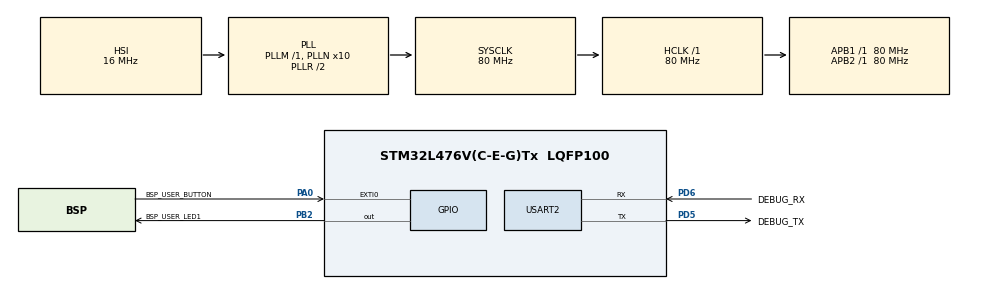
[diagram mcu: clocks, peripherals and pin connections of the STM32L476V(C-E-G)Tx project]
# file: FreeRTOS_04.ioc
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FREERTOS.BinarySemaphores01=MySem,Dynamic,NULL
FREERTOS.Tasks01=Opt,40,256,EventThread,Default,NULL,Dynamic,NULL,NULL
FREERTOS.configTOTAL_HEAP_SIZE=5000
Mcu.Family=STM32L4
Mcu.Name=STM32L476V(C-E-G)Tx
Mcu.Package=LQFP100
NVIC.EXTI0_IRQn=true\:5\:0\:false\:false\:true\:true\:true\:true
NVIC.PriorityGroup=NVIC_PRIORITYGROUP_4
NVIC.TIM6_DAC_IRQn=true\:0\:0\:false\:false\:true\:false\:false\:true
NVIC.TimeBase=TIM6_DAC_IRQn
NVIC.TimeBaseIP=TIM6
PA0.GPIO_Label=BSP_USER_BUTTON
PA0.GPIO_ModeDefaultEXTI=GPIO_MODE_IT_FALLING
PA0.GPIO_PuPd=GPIO_PULLDOWN
PA0.Signal=GPXTI0
PA13\ (JTMS-SWDIO).Mode=Serial_Wire
PA13\ (JTMS-SWDIO).Signal=SYS_JTMS-SWDIO
PA14\ (JTCK-SWCLK).Mode=Serial_Wire
PA14\ (JTCK-SWCLK).Signal=SYS_JTCK-SWCLK
PB2.GPIO_Label=BSP_USER_LED1
PB2.GPIO_Speed=GPIO_SPEED_FREQ_HIGH
PB2.Signal=GPIO_Output
PD5.GPIO_Label=DEBUG_TX
PD5.Mode=Asynchronous
PD5.Signal=USART2_TX
PD6.GPIO_Label=DEBUG_RX
PD6.Mode=Asynchronous
PD6.Signal=USART2_RX
ProjectManager.HeapSize=0x200
ProjectManager.StackSize=0x400
ProjectManager.TargetToolchain=STM32CubeIDE
RCC.ADCFreq_Value=64000000
RCC.AHBFreq_Value=80000000
RCC.APB1Freq_Value=80000000
RCC.APB1TimFreq_Value=80000000
RCC.APB2Freq_Value=80000000
RCC.APB2TimFreq_Value=80000000
RCC.CortexFreq_Value=80000000
RCC.HCLKFreq_Value=80000000
RCC.HSE_VALUE=8000000
RCC.HSI_VALUE=16000000
RCC.LSE_VALUE=32768
RCC.MSI_VALUE=4000000
RCC.PLLN=10
RCC.PLLSourceVirtual=RCC_PLLSOURCE_HSI
RCC.SYSCLKFreq_VALUE=80000000
RCC.SYSCLKSource=RCC_SYSCLKSOURCE_PLLCLK
RCC.USBFreq_Value=64000000
RCC.VCOOutputFreq_Value=160000000
USART2.VirtualMode-Asynchronous=VM_ASYNC
VP_FREERTOS_VS_CMSIS_V2.Mode=CMSIS_V2
VP_SYS_VS_tim6.Mode=TIM6
board=custom

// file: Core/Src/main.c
/* USER CODE BEGIN Header */
/**
 ******************************************************************************
 * @file           : main.c
 * @brief          : Main program body
 ******************************************************************************
 * @attention
 *
 * <h2><center>&copy; Copyright (c) 2021 STMicroelectronics.
 * All rights reserved.</center></h2>
 *
 * This software component is licensed by ST under BSD 3-Clause license,
 * the "License"; You may not use this file except in compliance with the
 * License. You may obtain a copy of the License at:
 *                        opensource.org/licenses/BSD-3-Clause
 *
 ******************************************************************************
 */
/* USER CODE END Header */
/* ******************************************************************************
 DO WHAT THE FUCK YOU WANT TO PUBLIC LICENSE
 Version 2, December 2021

 Copyright (C) 2021 Mahendra Sondagar <mahendrasondagar08@gmail.com>
 Everyone is permitted to copy and distribute verbatim or modified
 copies of this license document, and changing it is allowed as long
 as the name is changed.

 DO WHAT THE FUCK YOU WANT TO PUBLIC LICENSE
 TERMS AND CONDITIONS FOR COPYING, DISTRIBUTION AND MODIFICATION
 0. You just DO WHAT THE FUCK YOU WANT TO.

 Coded: Sun, 12th Sep, 2021 / 18:35 PM
 ****************************************************/
#include "main.h"
#include "cmsis_os.h"

/* USER CODE BEGIN PM */
#define WELCOME_MSG     "-------------------------------------------------- \r\n"\
                        "                 Hello World!                      \r\n"\
	                    "    This is the FreeRTOS Binary Semaphore from ISR \r\n"\
						"          Coded By: Mahendra Sondagar              \r\n"\
						"        <mahendrasondagar08@gmail.com>             \r\n"\
						"-------------------------------------------------- \r\n"

/* USER CODE END PM */

UART_HandleTypeDef huart2;

/* Definitions for Opt */
osThreadId_t OptHandle;
const osThreadAttr_t Opt_attributes = { .name = "Opt", .priority =
		(osPriority_t) osPriorityHigh, .stack_size = 256 * 4 };
/* Definitions for MySem */
osSemaphoreId_t MySemHandle;
const osSemaphoreAttr_t MySem_attributes = { .name = "MySem" };

void SystemClock_Config(void);
static void MX_GPIO_Init(void);
static void MX_USART2_UART_Init(void);
void EventThread(void *argument);

int main(void) {

	/* MCU Configuration--------------------------------------------------------*/

	/* Reset of all peripherals, Initializes the Flash interface and the Systick. */
	HAL_Init();

	/* Configure the system clock */
	SystemClock_Config();

	/* Initialize all configured peripherals */
	MX_GPIO_Init();
	MX_USART2_UART_Init();
	/* USER CODE BEGIN 2 */
	HAL_Delay(250);
	KERNEL_DBG(WELCOME_MSG);

	/* USER CODE END 2 */

	/* Init scheduler */
	osKernelInitialize();

	/* Create the semaphores(s) */
	/* creation of MySem */
	MySemHandle = osSemaphoreNew(1, 1, &MySem_attributes);

	/* Create the thread(s) */
	/* creation of Opt */
	OptHandle = osThreadNew(EventThread, NULL, &Opt_attributes);

	/* Start scheduler */
	osKernelStart();

	/* We should never get here as control is now taken by the scheduler */
	/* Infinite loop */
	while (1) {

	}
}

void SystemClock_Config(void) {
	RCC_OscInitTypeDef RCC_OscInitStruct = { 0 };
	RCC_ClkInitTypeDef RCC_ClkInitStruct = { 0 };
	RCC_PeriphCLKInitTypeDef PeriphClkInit = { 0 };

	/** Initializes the RCC Oscillators according to the specified parameters
	 * in the RCC_OscInitTypeDef structure.
	 */
	RCC_OscInitStruct.OscillatorType = RCC_OSCILLATORTYPE_HSI;
	RCC_OscInitStruct.HSIState = RCC_HSI_ON;
	RCC_OscInitStruct.HSICalibrationValue = RCC_HSICALIBRATION_DEFAULT;
	RCC_OscInitStruct.PLL.PLLState = RCC_PLL_ON;
	RCC_OscInitStruct.PLL.PLLSource = RCC_PLLSOURCE_HSI;
	RCC_OscInitStruct.PLL.PLLM = 1;
	RCC_OscInitStruct.PLL.PLLN = 10;
	RCC_OscInitStruct.PLL.PLLP = RCC_PLLP_DIV7;
	RCC_OscInitStruct.PLL.PLLQ = RCC_PLLQ_DIV2;
	RCC_OscInitStruct.PLL.PLLR = RCC_PLLR_DIV2;
	if (HAL_RCC_OscConfig(&RCC_OscInitStruct) != HAL_OK) {
		Error_Handler();
	}
	/** Initializes the CPU, AHB and APB buses clocks
	 */
	RCC_ClkInitStruct.ClockType = RCC_CLOCKTYPE_HCLK | RCC_CLOCKTYPE_SYSCLK
			| RCC_CLOCKTYPE_PCLK1 | RCC_CLOCKTYPE_PCLK2;
	RCC_ClkInitStruct.SYSCLKSource = RCC_SYSCLKSOURCE_PLLCLK;
	RCC_ClkInitStruct.AHBCLKDivider = RCC_SYSCLK_DIV1;
	RCC_ClkInitStruct.APB1CLKDivider = RCC_HCLK_DIV1;
	RCC_ClkInitStruct.APB2CLKDivider = RCC_HCLK_DIV1;

	if (HAL_RCC_ClockConfig(&RCC_ClkInitStruct, FLASH_LATENCY_4) != HAL_OK) {
		Error_Handler();
	}
	PeriphClkInit.PeriphClockSelection = RCC_PERIPHCLK_USART2;
	PeriphClkInit.Usart2ClockSelection = RCC_USART2CLKSOURCE_PCLK1;
	if (HAL_RCCEx_PeriphCLKConfig(&PeriphClkInit) != HAL_OK) {
		Error_Handler();
	}
	/** Configure the main internal regulator output voltage
	 */
	if (HAL_PWREx_ControlVoltageScaling(PWR_REGULATOR_VOLTAGE_SCALE1)
			!= HAL_OK) {
		Error_Handler();
	}
}

static void MX_USART2_UART_Init(void) {

	huart2.Instance = USART2;
	huart2.Init.BaudRate = 115200;
	huart2.Init.WordLength = UART_WORDLENGTH_8B;
	huart2.Init.StopBits = UART_STOPBITS_1;
	huart2.Init.Parity = UART_PARITY_NONE;
	huart2.Init.Mode = UART_MODE_TX_RX;
	huart2.Init.HwFlowCtl = UART_HWCONTROL_NONE;
	huart2.Init.OverSampling = UART_OVERSAMPLING_16;
	huart2.Init.OneBitSampling = UART_ONE_BIT_SAMPLE_DISABLE;
	huart2.AdvancedInit.AdvFeatureInit = UART_ADVFEATURE_NO_INIT;
	if (HAL_UART_Init(&huart2) != HAL_OK) {
		Error_Handler();
	}

}

static void MX_GPIO_Init(void) {
	GPIO_InitTypeDef GPIO_InitStruct = { 0 };

	/* GPIO Ports Clock Enable */
	__HAL_RCC_GPIOA_CLK_ENABLE();
	__HAL_RCC_GPIOB_CLK_ENABLE();
	__HAL_RCC_GPIOD_CLK_ENABLE();

	/*Configure GPIO pin Output Level */
	HAL_GPIO_WritePin(BSP_USER_LED1_GPIO_Port, BSP_USER_LED1_Pin,
			GPIO_PIN_RESET);

	/*Configure GPIO pin : BSP_USER_BUTTON_Pin */
	GPIO_InitStruct.Pin = BSP_USER_BUTTON_Pin;
	GPIO_InitStruct.Mode = GPIO_MODE_IT_FALLING;
	GPIO_InitStruct.Pull = GPIO_PULLDOWN;
	HAL_GPIO_Init(BSP_USER_BUTTON_GPIO_Port, &GPIO_InitStruct);

	/*Configure GPIO pin : BSP_USER_LED1_Pin */
	GPIO_InitStruct.Pin = BSP_USER_LED1_Pin;
	GPIO_InitStruct.Mode = GPIO_MODE_OUTPUT_PP;
	GPIO_InitStruct.Pull = GPIO_NOPULL;
	GPIO_InitStruct.Speed = GPIO_SPEED_FREQ_HIGH;
	HAL_GPIO_Init(BSP_USER_LED1_GPIO_Port, &GPIO_InitStruct);

	/* EXTI interrupt init*/
	HAL_NVIC_SetPriority(EXTI0_IRQn, 5, 0);
	HAL_NVIC_EnableIRQ(EXTI0_IRQn);

}

/* USER CODE BEGIN 4 */

void HAL_GPIO_EXTI_Callback(uint16_t GPIO_Pin) {
	if (GPIO_Pin == BSP_USER_BUTTON_Pin) {
		/* Sending Semaphore from ISR, when user press the joystick center*/
		osSemaphoreRelease(MySemHandle);
	}
}

/* USER CODE END 4 */

void EventThread(void *argument) {
	/* USER CODE BEGIN 5 */
	UNUSED(argument);
	uint32_t Cnt=0;
	/* Infinite loop */
	for (;;) {
		if (osSemaphoreAcquire(MySemHandle, osWaitForever) == osOK) {
			KERNEL_DBG("Event occurred from ISR: %d", Cnt++);
			HAL_GPIO_TogglePin(BSP_USER_LED1_GPIO_Port, BSP_USER_LED1_Pin);
		}
	}
	/* USER CODE END 5 */
}

void HAL_TIM_PeriodElapsedCallback(TIM_HandleTypeDef *htim) {
	if (htim->Instance == TIM6) {
		HAL_IncTick();
	}
}

void Error_Handler(void) {
	__disable_irq();
	while (1) {
	}
}

/************************ (C) COPYRIGHT STMicroelectronics *****END OF FILE****/
